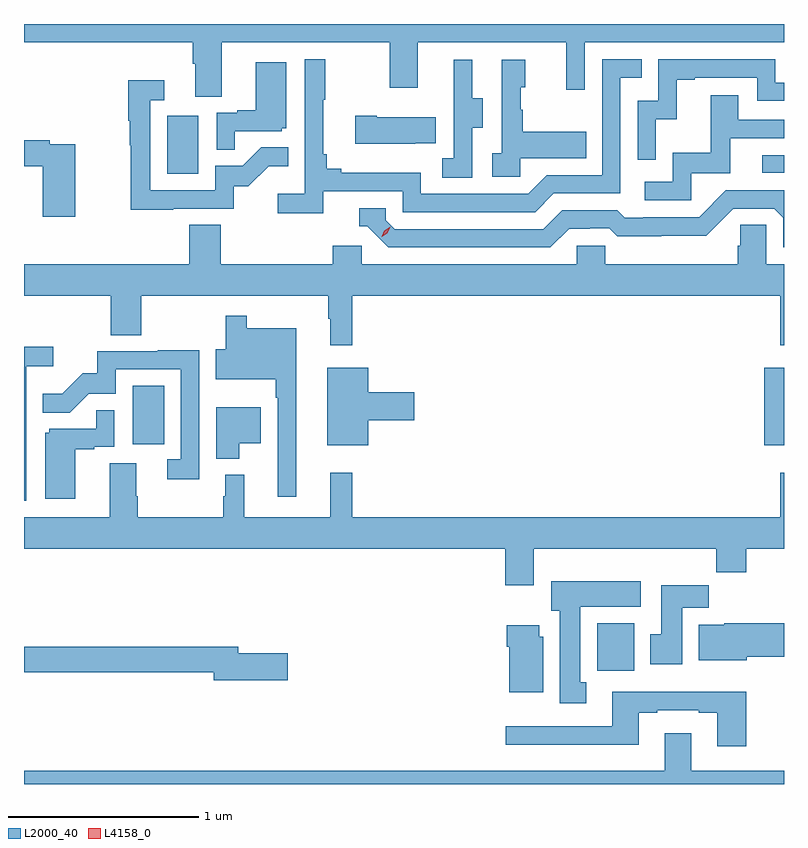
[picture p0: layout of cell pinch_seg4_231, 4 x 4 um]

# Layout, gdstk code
import gdstk
lib = gdstk.Library(unit=1e-6, precision=1e-09)
def R(c, l, rs):  # rectangles x0, y0, x1, y1
    for r in rs: c.add(gdstk.rectangle(r[:2], r[2:], *l))
def P(c, l, *ps):  # polygons
    for p in ps: c.add(gdstk.Polygon(p, *l))
L2000_40 = (2000, 40)
L4158_0 = (4158, 0)

pinch_seg4_231 = lib.new_cell('pinch_seg4_231')
R(pinch_seg4_231, L2000_40, [(914.835,816.156,915.031,816.406), (915.716,817.343,915.819,817.753), (912.392,817.35,912.556,817.657), (912.572,818.772,912.736,819.079), (915.705,818.778,915.819,818.871)])
P(pinch_seg4_231, L2000_40, [(912.859,819.464),(913.744,819.464),(913.744,819.225),(913.891,819.225),(913.891,819.464),(914.672,819.464),(914.672,819.216),(914.769,819.216),(914.769,819.464),(915.819,819.464),(915.819,819.561),(911.819,819.561),(911.819,819.464),(912.707,819.464),(912.707,819.352),(912.719,819.352),(912.719,819.178),(912.859,819.178)],
  [(913.394,818.682),(913.812,818.682),(913.812,818.571),(914.509,818.571),(914.608,818.67),(914.958,818.67),(914.958,819.279),(915.071,819.279),(915.071,819.375),(914.862,819.375),(914.862,818.766),(914.571,818.766),(914.472,818.667),(913.908,818.667),(913.908,818.779),(913.489,818.779),(913.489,818.798),(913.412,818.798),(913.412,818.875),(913.393,818.875),(913.393,819.163),(913.405,819.163),(913.405,819.376),(913.296,819.376),(913.296,818.668),(913.155,818.668),(913.155,818.566),(913.394,818.566)],
  [(915.144,819.059),(915.254,819.059),(915.254,819.267),(915.349,819.267),(915.349,819.279),(915.678,819.279),(915.678,819.156),(915.819,819.156),(915.819,819.252),(915.774,819.252),(915.774,819.375),(915.156,819.375),(915.156,819.156),(915.048,819.156),(915.048,818.847),(915.144,818.847)],
  [(914.43,818.855),(914.777,818.855),(914.777,818.995),(914.443,818.995),(914.443,819.11),(914.433,819.11),(914.433,819.228),(914.458,819.228),(914.458,819.373),(914.334,819.373),(914.334,818.882),(914.283,818.882),(914.283,818.757),(914.43,818.757)],
  [(914.178,819.016),(914.233,819.016),(914.233,819.171),(914.179,819.171),(914.179,819.373),(914.081,819.373),(914.081,819.159),(914.082,819.159),(914.082,818.855),(914.019,818.855),(914.019,818.752),(914.178,818.752)],
  [(912.929,818.997),(913.176,818.997),(913.176,819.012),(913.198,819.012),(913.198,819.361),(913.04,819.361),(913.04,819.106),(912.941,819.106),(912.941,819.093),(912.834,819.093),(912.834,818.899),(912.929,818.899)],
  [(912.605,818.589),(912.924,818.589),(912.924,818.706),(913,818.706),(913.107,818.813),(913.211,818.813),(913.211,818.912),(913.067,818.912),(912.969,818.814),(912.825,818.814),(912.825,818.685),(912.483,818.685),(912.483,819.159),(912.556,819.159),(912.556,819.265),(912.367,819.265),(912.367,819.052),(912.375,819.052),(912.375,818.922),(912.382,818.922),(912.382,818.584),(912.605,818.584)],
  [(915.33,818.775),(915.535,818.775),(915.535,818.961),(915.819,818.961),(915.819,819.057),(915.577,819.057),(915.577,819.187),(915.433,819.187),(915.433,818.884),(915.234,818.884),(915.234,818.73),(915.087,818.73),(915.087,818.634),(915.33,818.634)],
  [(913.877,818.933),(913.985,818.933),(913.985,819.07),(913.675,819.07),(913.675,819.078),(913.563,819.078),(913.563,818.93),(913.877,818.93)],
  [(912.088,818.928),(911.954,818.928),(911.954,818.948),(911.819,818.948),(911.819,818.812),(911.918,818.812),(911.918,818.547),(912.088,818.547)],
  [(914.689,818.484),(914.796,818.484),(914.796,818.487),(914.899,818.487),(914.941,818.445),(915.174,818.445),(915.174,818.447),(915.41,818.447),(915.552,818.589),(915.768,818.589),(915.816,818.541),(915.816,818.385),(915.819,818.385),(915.819,818.685),(915.513,818.685),(915.372,818.544),(915.079,818.544),(915.079,818.541),(914.98,818.541),(914.941,818.58),(914.652,818.58),(914.553,818.481),(913.77,818.481),(913.722,818.529),(913.722,818.592),(913.583,818.592),(913.583,818.496),(913.626,818.496),(913.737,818.385),(914.59,818.385)],
  [(913.547,818.132),(915.799,818.132),(915.799,817.869),(915.819,817.869),(915.819,818.296),(915.726,818.296),(915.726,818.504),(915.589,818.504),(915.589,818.394),(915.575,818.394),(915.575,818.296),(914.877,818.296),(914.877,818.394),(914.727,818.394),(914.727,818.296),(913.596,818.296),(913.596,818.394),(913.445,818.394),(913.445,818.296),(912.854,818.296),(912.854,818.504),(912.689,818.504),(912.689,818.296),(911.819,818.296),(911.819,818.132),(912.275,818.132),(912.275,817.924),(912.435,817.924),(912.435,818.132),(913.419,818.132),(913.419,818.009),(913.43,818.009),(913.43,817.869),(913.547,817.869)],
  [(913.252,817.96),(912.991,817.96),(912.991,818.026),(912.881,818.026),(912.881,817.849),(912.828,817.849),(912.828,817.691),(913.143,817.691),(913.143,817.595),(913.155,817.595),(913.155,817.074),(913.252,817.074)],
  [(911.832,817.76),(911.974,817.76),(911.974,817.862),(911.819,817.862),(911.819,817.053),(911.832,817.053)],
  [(912.741,817.844),(912.523,817.844),(912.523,817.839),(912.205,817.839),(912.205,817.722),(912.128,817.722),(912.021,817.615),(911.917,817.615),(911.917,817.516),(912.061,817.516),(912.159,817.614),(912.303,817.614),(912.303,817.743),(912.645,817.743),(912.645,817.269),(912.573,817.269),(912.573,817.164),(912.741,817.164)],
  [(913.63,817.475),(913.873,817.475),(913.873,817.622),(913.63,817.622),(913.63,817.753),(913.415,817.753),(913.415,817.343),(913.63,817.343)],
  [(912.952,817.355),(913.066,817.355),(913.066,817.543),(912.83,817.543),(912.83,817.274),(912.952,817.274)],
  [(912.088,817.323),(912.188,817.323),(912.188,817.335),(912.294,817.335),(912.294,817.529),(912.199,817.529),(912.199,817.431),(911.952,817.431),(911.952,817.41),(911.93,817.41),(911.93,817.062),(912.088,817.062)],
  [(914.503,816.8),(915.463,816.8),(915.463,816.676),(915.62,816.676),(915.62,816.8),(915.819,816.8),(915.819,817.198),(915.799,817.198),(915.799,816.964),(913.547,816.964),(913.547,817.198),(913.43,817.198),(913.43,816.964),(912.977,816.964),(912.977,817.189),(912.878,817.189),(912.878,817.076),(912.867,817.076),(912.867,816.964),(912.417,816.964),(912.417,817.076),(912.409,817.076),(912.409,817.25),(912.269,817.25),(912.269,816.964),(911.819,816.964),(911.819,816.8),(914.351,816.8),(914.351,816.606),(914.503,816.606)],
  [(914.779,816.097),(914.746,816.097),(914.746,816.494),(915.064,816.494),(915.064,816.628),(914.594,816.628),(914.594,816.474),(914.639,816.474),(914.639,815.985),(914.779,815.985)],
  [(915.283,816.488),(915.422,816.488),(915.422,816.607),(915.173,816.607),(915.173,816.348),(915.116,816.348),(915.116,816.192),(915.283,816.192)],
  [(915.622,816.23),(915.819,816.23),(915.819,816.406),(915.504,816.406),(915.504,816.4),(915.371,816.4),(915.371,816.212),(915.622,816.212)],
  [(914.551,816.336),(914.53,816.336),(914.53,816.397),(914.36,816.397),(914.36,816.284),(914.372,816.284),(914.372,816.044),(914.551,816.044)],
  [(913.207,816.248),(912.946,816.248),(912.946,816.284),(911.819,816.284),(911.819,816.148),(912.818,816.148),(912.818,816.106),(913.207,816.106)],
  [(915.62,816.046),(914.915,816.046),(914.915,815.865),(914.355,815.865),(914.355,815.768),(915.055,815.768),(915.055,815.937),(915.151,815.937),(915.151,815.949),(915.371,815.949),(915.371,815.937),(915.467,815.937),(915.467,815.76),(915.62,815.76)],
  [(915.819,815.632),(915.331,815.632),(915.331,815.827),(915.191,815.827),(915.191,815.632),(911.819,815.632),(911.819,815.561),(915.819,815.561)])
P(pinch_seg4_231, L4158_0, [(913.701,818.441),(913.701,818.442),(913.716,818.474),(913.747,818.494),(913.747,818.494),(913.747,818.494),(913.732,818.461),(913.701,818.441)])

lib.write_gds('pinch_seg4_231.gds')
